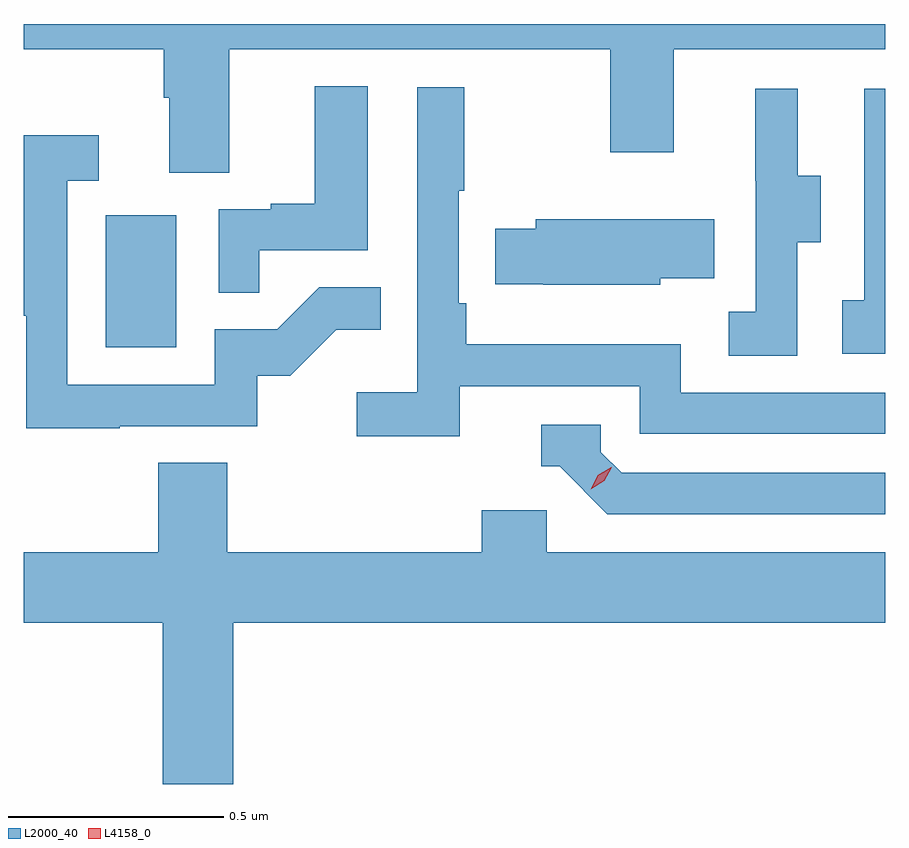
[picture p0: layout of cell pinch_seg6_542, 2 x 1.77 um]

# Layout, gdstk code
import gdstk
lib = gdstk.Library(unit=1e-6, precision=1e-09)
def R(c, l, rs):  # rectangles x0, y0, x1, y1
    for r in rs: c.add(gdstk.rectangle(r[:2], r[2:], *l))
def P(c, l, *ps):  # polygons
    for p in ps: c.add(gdstk.Polygon(p, *l))
L2000_40 = (2000, 40)
L4158_0 = (4158, 0)

pinch_seg6_542 = lib.new_cell('pinch_seg6_542')
R(pinch_seg6_542, L2000_40, [(824.216,920.004,824.38,920.311)])
P(pinch_seg6_542, L2000_40, [(824.503,920.696),(825.388,920.696),(825.388,920.457),(825.535,920.457),(825.535,920.696),(826.026,920.696),(826.026,920.755),(824.026,920.755),(824.026,920.696),(824.351,920.696),(824.351,920.584),(824.363,920.584),(824.363,920.41),(824.503,920.41)],
  [(824.573,920.229),(824.824,920.229),(824.824,920.611),(824.702,920.611),(824.702,920.338),(824.599,920.338),(824.599,920.325),(824.478,920.325),(824.478,920.131),(824.573,920.131)],
  [(825.038,919.914),(825.456,919.914),(825.456,919.803),(826.026,919.803),(826.026,919.899),(825.552,919.899),(825.552,920.011),(825.053,920.011),(825.053,920.107),(825.036,920.107),(825.036,920.368),(825.049,920.368),(825.049,920.608),(824.94,920.608),(824.94,919.9),(824.799,919.9),(824.799,919.798),(825.038,919.798)],
  [(826.026,920.605),(825.978,920.605),(825.978,920.114),(825.927,920.114),(825.927,919.989),(826.026,919.989)],
  [(825.822,920.248),(825.877,920.248),(825.877,920.403),(825.823,920.403),(825.823,920.605),(825.725,920.605),(825.725,920.391),(825.726,920.391),(825.726,920.087),(825.663,920.087),(825.663,919.984),(825.822,919.984)],
  [(824.249,919.821),(824.568,919.821),(824.568,919.938),(824.644,919.938),(824.751,920.045),(824.855,920.045),(824.855,920.144),(824.712,920.144),(824.614,920.046),(824.469,920.046),(824.469,919.917),(824.127,919.917),(824.127,920.391),(824.2,920.391),(824.2,920.497),(824.026,920.497),(824.026,920.077),(824.031,920.077),(824.031,919.816),(824.249,919.816)],
  [(825.504,920.165),(825.629,920.165),(825.629,920.302),(825.215,920.302),(825.215,920.28),(825.121,920.28),(825.121,920.151),(825.232,920.151),(825.232,920.15),(825.504,920.15)],
  [(826.026,919.713),(825.414,919.713),(825.366,919.761),(825.366,919.824),(825.227,919.824),(825.227,919.728),(825.27,919.728),(825.381,919.617),(826.026,919.617)],
  [(824.512,919.364),(826.026,919.364),(826.026,919.528),(825.24,919.528),(825.24,919.626),(825.089,919.626),(825.089,919.528),(824.498,919.528),(824.498,919.736),(824.338,919.736),(824.338,919.528),(824.026,919.528),(824.026,919.364),(824.348,919.364),(824.348,918.99),(824.512,918.99)])
P(pinch_seg6_542, L4158_0, [(825.343,919.675),(825.343,919.675),(825.359,919.707),(825.39,919.726),(825.391,919.726),(825.391,919.726),(825.374,919.694),(825.343,919.675)])

lib.write_gds('pinch_seg6_542.gds')
